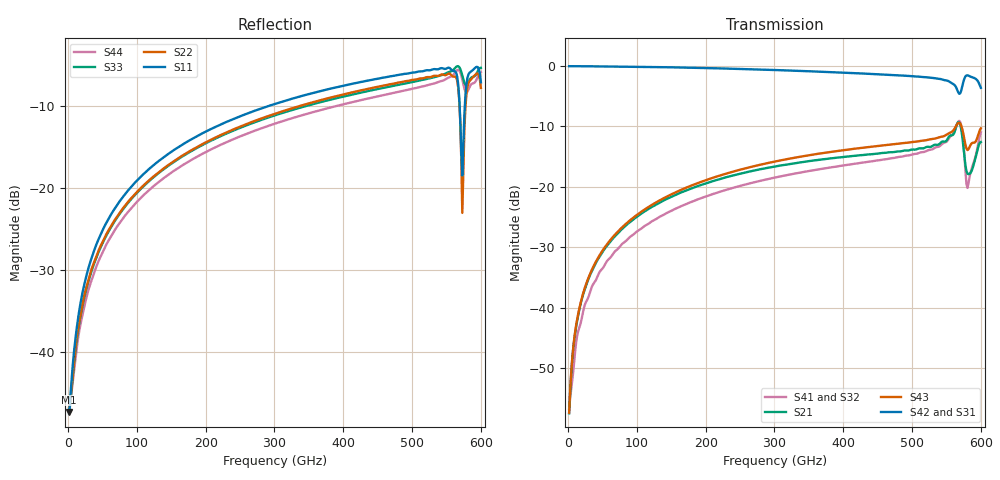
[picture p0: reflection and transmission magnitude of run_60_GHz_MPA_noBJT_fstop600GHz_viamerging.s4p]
#  Hz  S  RI  R  50
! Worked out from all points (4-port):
!   400 points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, 1.5 GHz to 600 GHz, reference 50 ohm
!   strongest paths, dB at 1.5 GHz, 151.5 GHz, 301.5 GHz, 451.5 GHz, 600 GHz:
!     S42: 0.0, -0.2, -0.7, -1.4, -3.6
!     S31: 0.0, -0.3, -0.8, -1.6, -3.9
!     S43: -57.3, -21.1, -15.8, -13.2, -10.3
!     S21: -57.4, -21.5, -16.6, -14.5, -12.6
!     S41: -56.7, -23.9, -18.4, -15.6, -11.0
!     S32: -60.4, -23.9, -18.4, -15.6, -11.3
!   lowest |S11| = -47.4 dB at 1.5 GHz (marker M1), VSWR 1.01, Z = 50.4 - j0.152 ohm
!   |S11| at or under -10 dB: start of sweep to 289.9 GHz; 569.1 GHz to 576.7 GHz (7.544 GHz wide, 1.32 % of centre)
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1.5e9  0.00399 -0.00151  0.000888 0.00104  0.9959 -0.00452  -0.00109 0.0007
       0.00104 0.000851  0.00434 -0.00145  -0.000935 0.00056  0.9959 -0.0045
       0.9962 -0.00483  -0.000854 0.000426  0.00401 -0.00122  0.000909 0.000995
       -0.00119 0.000847  0.9956 -0.00425  0.00103 0.000895  0.0043 -0.00115
2.85e10  0.000591 -0.0312  0.00396 0.0161  0.9905 -0.082  0.00011 0.0124
         0.00381 0.0163  0.00138 -0.0263  0.000206 0.0123  0.9907 -0.0793
         0.9901 -0.0816  3.31e-05 0.0123  0.00457 -0.0255  0.00205 0.017
         0.000318 0.0119  0.9905 -0.0791  0.00216 0.017  0.00501 -0.0224
1.08e11  -0.0586 -0.1048  0.0352 0.0498  0.9373 -0.2977  0.0191 0.0428
         0.0354 0.0498  -0.0481 -0.0902  0.0189 0.0429  0.9415 -0.2881
         0.9356 -0.2969  0.0186 0.0422  -0.00489 -0.1009  0.0138 0.0617
         0.0187 0.0421  0.9402 -0.2873  0.0139 0.0618  -0.00202 -0.089
5.535e11  -0.1531 0.5228  -0.0691 -0.2499  0.0302 -0.744  0.1895 -0.1841
          -0.0698 -0.2501  -0.1472 0.4796  0.1891 -0.1804  0.0562 -0.7657
          0.0539 -0.7111  0.188 -0.1579  -0.3122 -0.4067  0.2194 0.1661
          0.1883 -0.1664  0.0702 -0.7424  0.2245 0.1649  -0.265 -0.3945
5.73e11  -0.0529 0.1069  -0.1773 0.1913  0.2061 -0.6586  -0.0433 -0.2843
         -0.1772 0.1904  -0.013 0.0693  -0.0358 -0.2694  0.2321 -0.6566
         0.2385 -0.6247  -0.0301 -0.2632  -0.3837 -0.3018  0.2917 0.0577
         -0.0411 -0.2799  0.256 -0.6301  0.295 0.0539  -0.3572 -0.2906
5.805e11  -0.3424 0.3273  0.1277 -0.00751  0.1297 -0.8413  0.0174 -0.0902
          0.1286 -0.00715  -0.3205 0.2652  0.0272 -0.0868  0.1707 -0.8547
          0.1504 -0.7943  0.0322 -0.0909  -0.2874 -0.3239  0.1875 0.068
          0.0213 -0.0959  0.1796 -0.8175  0.1905 0.0662  -0.248 -0.2993
6e11  0.0104 0.4432  -0.2065 -0.1144  0.0118 -0.6615  0.0978 -0.282
      -0.2063 -0.1129  0.0228 0.4093  0.0987 -0.2726  0.0307 -0.6767
      0.039 -0.6342  0.1148 -0.2473  -0.3874 -0.3815  0.2731 0.1283
      0.1107 -0.2603  0.0441 -0.6579  0.2782 0.1251  -0.347 -0.3773
